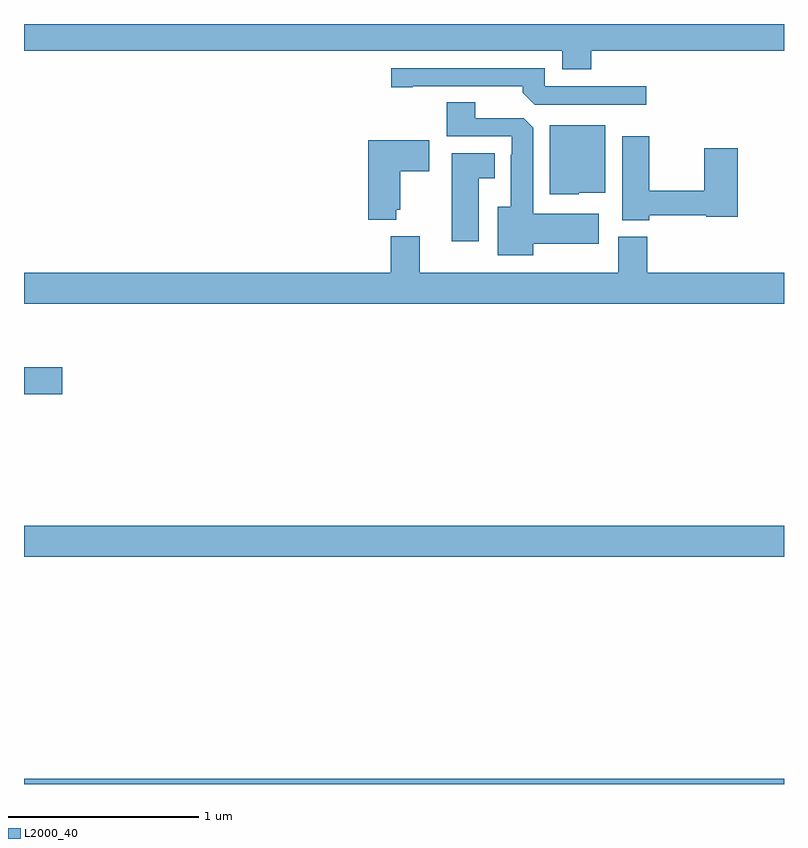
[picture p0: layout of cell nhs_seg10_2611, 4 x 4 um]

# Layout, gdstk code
import gdstk
lib = gdstk.Library(unit=1e-6, precision=1e-09)
def R(c, l, rs):  # rectangles x0, y0, x1, y1
    for r in rs: c.add(gdstk.rectangle(r[:2], r[2:], *l))
def P(c, l, *ps):  # polygons
    for p in ps: c.add(gdstk.Polygon(p, *l))
L2000_40 = (2000, 40)

nhs_seg10_2611 = lib.new_cell('nhs_seg10_2611')
R(nhs_seg10_2611, L2000_40, [(253,1252.5,257,1252.528), (253,1253.696,257,1253.86), (253,1254.551,253.201,1254.693)])
P(nhs_seg10_2611, L2000_40, [(255.986,1256.36),(257,1256.36),(257,1256.5),(253,1256.5),(253,1256.36),(255.833,1256.36),(255.833,1256.261),(255.986,1256.261)],
  [(256.276,1256.172),(255.741,1256.172),(255.741,1256.268),(254.934,1256.268),(254.934,1256.167),(255.046,1256.167),(255.046,1256.172),(255.626,1256.172),(255.626,1256.138),(255.687,1256.076),(256.276,1256.076)],
  [(255.679,1255.343),(256.024,1255.343),(256.024,1255.501),(255.679,1255.501),(255.679,1255.955),(255.63,1256.004),(255.376,1256.004),(255.376,1256.087),(255.224,1256.087),(255.224,1255.908),(255.567,1255.908),(255.567,1255.811),(255.563,1255.811),(255.563,1255.537),(255.494,1255.537),(255.494,1255.283),(255.679,1255.283)],
  [(255.921,1255.613),(256.06,1255.613),(256.06,1255.966),(255.767,1255.966),(255.767,1255.604),(255.921,1255.604)],
  [(256.29,1255.494),(256.59,1255.494),(256.59,1255.486),(256.757,1255.486),(256.757,1255.846),(256.579,1255.846),(256.579,1255.622),(256.29,1255.622),(256.29,1255.909),(256.148,1255.909),(256.148,1255.466),(256.29,1255.466)],
  [(254.958,1255.523),(254.98,1255.523),(254.98,1255.726),(255.133,1255.726),(255.133,1255.888),(254.813,1255.888),(254.813,1255.469),(254.958,1255.469)],
  [(255.394,1255.688),(255.478,1255.688),(255.478,1255.819),(255.251,1255.819),(255.251,1255.356),(255.394,1255.356)],
  [(257,1255.192),(256.279,1255.192),(256.279,1255.381),(256.127,1255.381),(256.127,1255.192),(255.082,1255.192),(255.082,1255.384),(254.93,1255.384),(254.93,1255.192),(253,1255.192),(253,1255.028),(257,1255.028)])

lib.write_gds('nhs_seg10_2611.gds')
